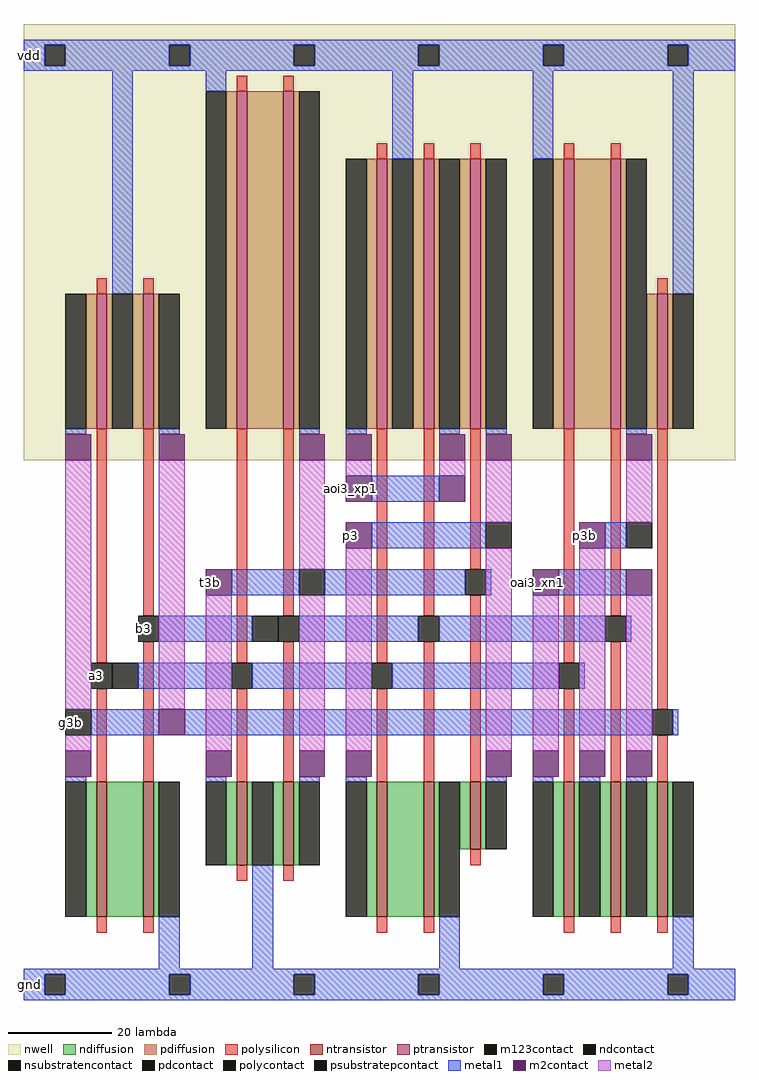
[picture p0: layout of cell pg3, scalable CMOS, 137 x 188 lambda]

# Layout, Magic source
magic
tech scmos
<< nwell >>
rect 0 104 137 188
<< ntransistor >>
rect 14 16 16 42
rect 23 16 25 42
rect 41 26 43 42
rect 50 26 52 42
rect 68 16 70 42
rect 77 16 79 42
rect 86 29 88 42
rect 104 16 106 42
rect 113 16 115 42
rect 122 16 124 42
<< ptransistor >>
rect 14 110 16 136
rect 23 110 25 136
rect 41 110 43 175
rect 50 110 52 175
rect 68 110 70 162
rect 77 110 79 162
rect 86 110 88 162
rect 104 110 106 162
rect 113 110 115 162
rect 122 110 124 136
<< ndiffusion >>
rect 12 16 14 42
rect 16 16 23 42
rect 25 16 26 42
rect 39 26 41 42
rect 43 26 44 42
rect 48 26 50 42
rect 52 26 53 42
rect 66 16 68 42
rect 70 16 77 42
rect 79 16 80 42
rect 84 29 86 42
rect 88 29 89 42
rect 102 16 104 42
rect 106 16 107 42
rect 111 16 113 42
rect 115 16 116 42
rect 120 16 122 42
rect 124 16 125 42
<< pdiffusion >>
rect 12 110 14 136
rect 16 110 17 136
rect 21 110 23 136
rect 25 110 26 136
rect 39 110 41 175
rect 43 110 50 175
rect 52 110 53 175
rect 66 110 68 162
rect 70 110 71 162
rect 75 110 77 162
rect 79 110 80 162
rect 84 110 86 162
rect 88 110 89 162
rect 102 110 104 162
rect 106 110 113 162
rect 115 110 116 162
rect 120 110 122 136
rect 124 110 125 136
<< ndcontact >>
rect 8 16 12 42
rect 26 16 30 42
rect 35 26 39 42
rect 44 26 48 42
rect 53 26 57 42
rect 62 16 66 42
rect 80 16 84 42
rect 89 29 93 42
rect 98 16 102 42
rect 107 16 111 42
rect 116 16 120 42
rect 125 16 129 42
<< pdcontact >>
rect 8 110 12 136
rect 17 110 21 136
rect 26 110 30 136
rect 35 110 39 175
rect 53 110 57 175
rect 62 110 66 162
rect 71 110 75 162
rect 80 110 84 162
rect 89 110 93 162
rect 98 110 102 162
rect 116 110 120 162
rect 125 110 129 136
<< psubstratepcontact >>
rect 4 1 8 5
rect 28 1 32 5
rect 52 1 56 5
rect 76 1 80 5
rect 100 1 104 5
rect 124 1 128 5
<< nsubstratencontact >>
rect 4 180 8 184
rect 28 180 32 184
rect 52 180 56 184
rect 76 180 80 184
rect 100 180 104 184
rect 124 180 128 184
<< polysilicon >>
rect 41 175 43 178
rect 50 175 52 178
rect 14 136 16 139
rect 23 136 25 139
rect 68 162 70 165
rect 77 162 79 165
rect 86 162 88 165
rect 104 162 106 165
rect 113 162 115 165
rect 122 136 124 139
rect 14 65 16 110
rect 23 74 25 110
rect 14 42 16 60
rect 23 42 25 69
rect 41 65 43 110
rect 50 74 52 110
rect 41 42 43 60
rect 50 42 52 69
rect 68 65 70 110
rect 77 74 79 110
rect 86 83 88 110
rect 68 42 70 60
rect 77 42 79 69
rect 86 42 88 78
rect 104 65 106 110
rect 113 74 115 110
rect 104 42 106 60
rect 113 42 115 69
rect 122 56 124 110
rect 122 42 124 51
rect 41 23 43 26
rect 50 23 52 26
rect 86 26 88 29
rect 14 13 16 16
rect 23 13 25 16
rect 68 13 70 16
rect 77 13 79 16
rect 104 13 106 16
rect 113 13 115 16
rect 122 13 124 16
<< polycontact >>
rect 22 69 26 74
rect 13 60 17 65
rect 49 69 53 74
rect 40 60 44 65
rect 85 78 89 83
rect 76 69 80 74
rect 67 60 71 65
rect 112 69 116 74
rect 103 60 107 65
rect 121 51 125 56
<< metal1 >>
rect 0 184 137 185
rect 0 180 4 184
rect 8 180 28 184
rect 32 180 52 184
rect 56 180 76 184
rect 80 180 100 184
rect 104 180 124 184
rect 128 180 137 184
rect 0 179 137 180
rect 17 136 21 179
rect 35 175 39 179
rect 71 162 75 179
rect 98 162 102 179
rect 8 109 12 110
rect 26 109 30 110
rect 53 109 57 110
rect 62 109 66 110
rect 80 109 84 110
rect 125 136 129 179
rect 89 109 93 110
rect 116 109 120 110
rect 67 96 80 101
rect 67 87 89 92
rect 112 87 116 92
rect 40 78 53 83
rect 58 78 85 83
rect 89 78 90 83
rect 103 78 116 83
rect 26 69 44 74
rect 53 69 76 74
rect 80 69 112 74
rect 116 69 117 74
rect 22 60 40 65
rect 44 60 67 65
rect 71 60 103 65
rect 107 60 108 65
rect 13 51 26 56
rect 31 51 121 56
rect 125 51 126 56
rect 8 42 12 43
rect 35 42 39 43
rect 53 42 57 43
rect 62 42 66 43
rect 89 42 93 43
rect 26 6 30 16
rect 44 6 48 26
rect 98 42 102 43
rect 107 42 111 43
rect 116 42 120 43
rect 80 6 84 16
rect 125 6 129 16
rect 0 5 137 6
rect 0 1 4 5
rect 8 1 28 5
rect 32 1 52 5
rect 56 1 76 5
rect 80 1 100 5
rect 104 1 124 5
rect 128 1 137 5
rect 0 0 137 1
<< m2contact >>
rect 8 104 13 109
rect 26 104 31 109
rect 53 104 58 109
rect 62 104 67 109
rect 80 104 85 109
rect 89 104 94 109
rect 116 104 121 109
rect 62 96 67 101
rect 80 96 85 101
rect 62 87 67 92
rect 107 87 112 92
rect 35 78 40 83
rect 98 78 103 83
rect 116 78 121 83
rect 26 51 31 56
rect 8 43 13 48
rect 35 43 40 48
rect 53 43 58 48
rect 62 43 67 48
rect 89 43 94 48
rect 98 43 103 48
rect 107 43 112 48
rect 116 43 121 48
<< metal2 >>
rect 8 56 13 104
rect 26 56 31 104
rect 53 83 58 104
rect 62 101 67 104
rect 80 101 85 104
rect 89 92 94 104
rect 116 92 121 104
rect 8 48 13 51
rect 35 48 40 78
rect 53 48 58 78
rect 62 48 67 87
rect 89 48 94 87
rect 98 48 103 78
rect 107 48 112 87
rect 116 48 121 78
<< m123contact >>
rect 17 60 22 65
rect 8 51 13 56
rect 53 78 58 83
rect 44 69 49 74
rect 89 87 94 92
rect 116 87 121 92
<< labels >>
rlabel metal1 13 60 15 65 0 a3
port 1 nsew
rlabel metal1 22 69 24 74 0 b3
port 2 nsew
rlabel metal1 8 51 10 56 0 g3b
port 3 nsew
rlabel m2contact 62 87 64 92 0 p3
port 4 nsew
rlabel m2contact 107 87 109 92 0 p3b
port 5 nsew
rlabel m2contact 35 78 37 83 0 t3b
port 6 nsew
rlabel m2contact 62 96 64 101 0 aoi3_xp1
rlabel m2contact 98 78 100 83 0 oai3_xn1
rlabel metal1 0 179 2 185 0 vdd
port 7 nsew
rlabel metal1 0 0 2 6 0 gnd
port 8 nsew
<< end >>
